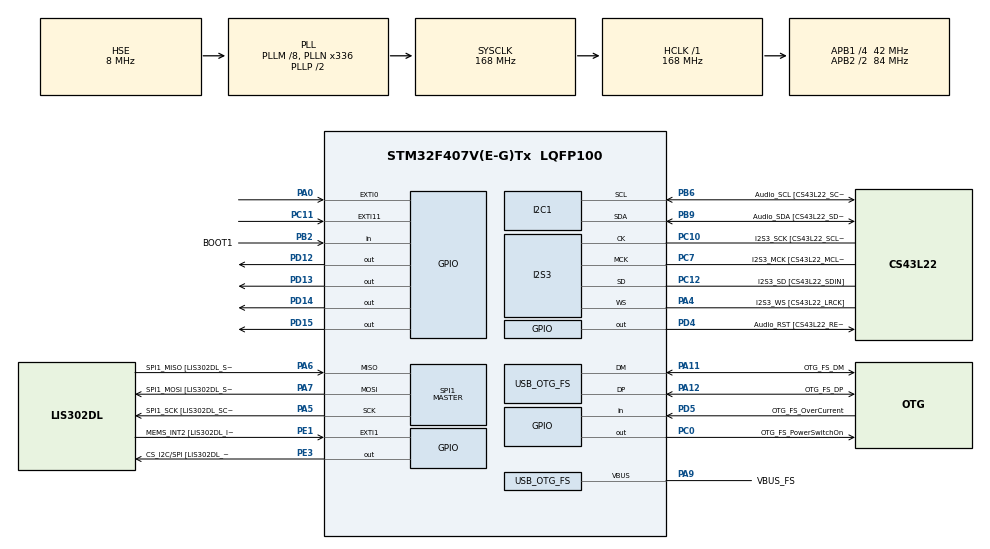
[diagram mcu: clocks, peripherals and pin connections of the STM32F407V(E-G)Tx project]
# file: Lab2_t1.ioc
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I2S3.AudioFreq-Half_Duplex_Master=I2S_AUDIOFREQ_96K
I2S3.ErrorAudioFreq=-2.34 %
I2S3.ErrorAudioFreq-Half_Duplex_Master=0.8 %
I2S3.FullDuplexMode=I2S_FULLDUPLEXMODE_DISABLE
I2S3.Instance=SPI$Index
I2S3.RealAudioFreq=93.75 KHz
I2S3.RealAudioFreq-Half_Duplex_Master=96.774 KHz
I2S3.VirtualMode=I2S_MODE_MASTER
Mcu.Family=STM32F4
Mcu.Name=STM32F407V(E-G)Tx
Mcu.Package=LQFP100
NVIC.EXTI0_IRQn=true\:0\:0\:false\:false\:true\:true\:true\:true
NVIC.OTG_FS_IRQn=true\:0\:0\:false\:false\:true\:true\:true\:true
NVIC.PriorityGroup=NVIC_PRIORITYGROUP_0
PA0-WKUP.GPIO_ModeDefaultEXTI=GPIO_MODE_IT_RISING
PA0-WKUP.Signal=GPXTI0
PA10.GPIO_Label=OTG_FS_ID
PA10.GPIO_Mode=GPIO_MODE_AF_PP
PA10.GPIO_PuPd=GPIO_NOPULL
PA10.GPIO_Speed=GPIO_SPEED_FREQ_LOW
PA10.Signal=USB_OTG_FS_ID
PA11.GPIO_Label=OTG_FS_DM
PA11.GPIO_Mode=GPIO_MODE_AF_PP
PA11.GPIO_PuPd=GPIO_NOPULL
PA11.GPIO_Speed=GPIO_SPEED_FREQ_LOW
PA11.Mode=Host_Only
PA11.Signal=USB_OTG_FS_DM
PA12.GPIO_Label=OTG_FS_DP
PA12.GPIO_Mode=GPIO_MODE_AF_PP
PA12.GPIO_PuPd=GPIO_NOPULL
PA12.GPIO_Speed=GPIO_SPEED_FREQ_LOW
PA12.Mode=Host_Only
PA12.Signal=USB_OTG_FS_DP
PA13.GPIO_Label=SWDIO
PA13.Mode=Serial_Wire
PA13.Signal=SYS_JTMS-SWDIO
PA14.GPIO_Label=SWCLK
PA14.Mode=Serial_Wire
PA14.Signal=SYS_JTCK-SWCLK
PA4.GPIO_Label=I2S3_WS [CS43L22_LRCK]
PA4.GPIO_Mode=GPIO_MODE_AF_PP
PA4.GPIO_PuPd=GPIO_NOPULL
PA4.GPIO_Speed=GPIO_SPEED_FREQ_LOW
PA4.Mode=Half_Duplex_Master
PA4.Signal=I2S3_WS
PA5.GPIO_Label=SPI1_SCK [LIS302DL_SCL/SPC]
PA5.GPIO_Mode=GPIO_MODE_AF_PP
PA5.GPIO_PuPd=GPIO_NOPULL
PA5.GPIO_Speed=GPIO_SPEED_FREQ_LOW
PA5.Mode=Full_Duplex_Master
PA5.Signal=SPI1_SCK
PA6.GPIO_Label=SPI1_MISO [LIS302DL_SDO]
PA6.GPIO_Mode=GPIO_MODE_AF_PP
PA6.GPIO_PuPd=GPIO_NOPULL
PA6.GPIO_Speed=GPIO_SPEED_FREQ_LOW
PA6.Mode=Full_Duplex_Master
PA6.Signal=SPI1_MISO
PA7.GPIO_Label=SPI1_MOSI [LIS302DL_SDA/SDI/SDO]
PA7.GPIO_Mode=GPIO_MODE_AF_PP
PA7.GPIO_PuPd=GPIO_NOPULL
PA7.GPIO_Speed=GPIO_SPEED_FREQ_LOW
PA7.Mode=Full_Duplex_Master
PA7.Signal=SPI1_MOSI
PA9.GPIO_Label=VBUS_FS
PA9.GPIO_Mode=GPIO_MODE_INPUT
PA9.GPIO_PuPd=GPIO_NOPULL
PA9.Mode=Activate_VBUS
PA9.Signal=USB_OTG_FS_VBUS
PB10.GPIO_Label=CLK_IN [MP45DT02_CLK]
PB10.GPIO_Mode=GPIO_MODE_AF_PP
PB10.GPIO_PuPd=GPIO_NOPULL
PB10.GPIO_Speed=GPIO_SPEED_FREQ_LOW
PB10.Signal=I2S2_CK
PB2.GPIO_Label=BOOT1
PB2.GPIO_Mode=GPIO_MODE_INPUT
PB2.GPIO_PuPd=GPIO_NOPULL
PB2.Signal=GPIO_Input
PB3.GPIO_Label=SWO
PB3.Signal=SYS_JTDO-SWO
PB6.GPIO_Label=Audio_SCL [CS43L22_SCL]
PB6.GPIO_Mode=GPIO_MODE_AF_OD
PB6.GPIO_Pu=GPIO_PULLUP
PB6.GPIO_PuPd=GPIO_NOPULL
PB6.GPIO_Speed=GPIO_SPEED_FREQ_LOW
PB6.Mode=I2C
PB6.Signal=I2C1_SCL
PB9.GPIO_Label=Audio_SDA [CS43L22_SDA]
PB9.GPIO_Mode=GPIO_MODE_AF_OD
PB9.GPIO_Pu=GPIO_PULLUP
PB9.GPIO_PuPd=GPIO_NOPULL
PB9.GPIO_Speed=GPIO_SPEED_FREQ_LOW
PB9.Mode=I2C
PB9.Signal=I2C1_SDA
PC0.GPIO_Label=OTG_FS_PowerSwitchOn
PC0.GPIO_PuPd=GPIO_NOPULL
PC0.GPIO_Speed=GPIO_SPEED_FREQ_LOW
PC0.PinState=GPIO_PIN_SET
PC0.Signal=GPIO_Output
PC10.GPIO_Label=I2S3_SCK [CS43L22_SCLK]
PC10.GPIO_Mode=GPIO_MODE_AF_PP
PC10.GPIO_PuPd=GPIO_NOPULL
PC10.GPIO_Speed=GPIO_SPEED_FREQ_LOW
PC10.Mode=Half_Duplex_Master
PC10.Signal=I2S3_CK
PC11.GPIO_ModeDefaultEXTI=GPIO_MODE_IT_RISING_FALLING
PC11.Signal=GPXTI11
PC12.GPIO_Label=I2S3_SD [CS43L22_SDIN]
PC12.GPIO_Mode=GPIO_MODE_AF_PP
PC12.GPIO_PuPd=GPIO_NOPULL
PC12.GPIO_Speed=GPIO_SPEED_FREQ_LOW
PC12.Mode=Half_Duplex_Master
PC12.Signal=I2S3_SD
PC14-OSC32_IN.GPIO_Label=PC14-OSC32_IN
PC14-OSC32_IN.Mode=LSE-External-Oscillator
PC14-OSC32_IN.Signal=RCC_OSC32_IN
PC15-OSC32_OUT.GPIO_Label=PC15-OSC32_OUT
PC15-OSC32_OUT.Mode=LSE-External-Oscillator
PC15-OSC32_OUT.Signal=RCC_OSC32_OUT
PC3.GPIO_Label=PDM_OUT [MP45DT02_DOUT]
PC3.GPIO_Mode=GPIO_MODE_AF_PP
PC3.GPIO_PuPd=GPIO_NOPULL
PC3.GPIO_Speed=GPIO_SPEED_FREQ_LOW
PC3.Signal=I2S2_SD
PC7.GPIO_Label=I2S3_MCK [CS43L22_MCLK]
PC7.GPIO_Mode=GPIO_MODE_AF_PP
PC7.GPIO_PuPd=GPIO_NOPULL
PC7.GPIO_Speed=GPIO_SPEED_FREQ_LOW
PC7.Mode=Master_Clock_Activated
PC7.Signal=I2S3_MCK
PD12.Signal=GPIO_Output
PD13.Signal=GPIO_Output
PD14.Signal=GPIO_Output
PD15.Signal=GPIO_Output
PD4.GPIO_Label=Audio_RST [CS43L22_RESET]
PD4.GPIO_PuPd=GPIO_NOPULL
PD4.GPIO_Speed=GPIO_SPEED_FREQ_LOW
PD4.Signal=GPIO_Output
PD5.GPIO_Label=OTG_FS_OverCurrent
PD5.GPIO_Mode=GPIO_MODE_INPUT
PD5.GPIO_PuPd=GPIO_NOPULL
PD5.Signal=GPIO_Input
PE1.GPIO_Label=MEMS_INT2 [LIS302DL_INT2]
PE1.GPIO_ModeDefaultEXTI=GPIO_MODE_EVT_RISING
PE1.GPIO_PuPd=GPIO_NOPULL
PE1.Signal=GPXTI1
PE3.GPIO_Label=CS_I2C/SPI [LIS302DL_CS_I2C/SPI]
PE3.GPIO_PuPd=GPIO_NOPULL
PE3.GPIO_Speed=GPIO_SPEED_FREQ_LOW
PE3.Signal=GPIO_Output
PH0-OSC_IN.GPIO_Label=PH0-OSC_IN
PH0-OSC_IN.Mode=HSE-External-Oscillator
PH0-OSC_IN.Signal=RCC_OSC_IN
PH1-OSC_OUT.GPIO_Label=PH1-OSC_OUT
PH1-OSC_OUT.Mode=HSE-External-Oscillator
PH1-OSC_OUT.Signal=RCC_OSC_OUT
ProjectManager.HeapSize=0x200
ProjectManager.StackSize=0x400
ProjectManager.TargetToolchain=STM32CubeIDE
RCC.48MHZClocksFreq_Value=48000000
RCC.AHBFreq_Value=168000000
RCC.APB1CLKDivider=RCC_HCLK_DIV4
RCC.APB1Freq_Value=42000000
RCC.APB1TimFreq_Value=84000000
RCC.APB2CLKDivider=RCC_HCLK_DIV2
RCC.APB2Freq_Value=84000000
RCC.APB2TimFreq_Value=168000000
RCC.CortexFreq_Value=168000000
RCC.HCLKFreq_Value=168000000
RCC.HSE_VALUE=8000000
RCC.HSI_VALUE=16000000
RCC.PLLM=8
RCC.PLLN=336
RCC.PLLQ=7
RCC.SYSCLKFreq_VALUE=168000000
RCC.SYSCLKSource=RCC_SYSCLKSOURCE_PLLCLK
RCC.VCOOutputFreq_Value=336000000
SPI1.BaudRatePrescaler-Full_Duplex_Master=SPI_BAUDRATEPRESCALER_2
SPI1.CalculateBaudRate-Full_Duplex_Master=42.0 MBits/s
SPI1.Direction=SPI_DIRECTION_2LINES
SPI1.Mode=SPI_MODE_MASTER
SPI1.Mode-Full_Duplex_Master=SPI_MODE_MASTER
SPI1.VirtualType=VM_MASTER
TIM4.Period=1000-1
TIM4.Prescaler=84
USB_HOST.BSP.number=1
USB_HOST.USBH_HandleTypeDef-CDC_FS=hUsbHostFS
USB_HOST.VirtualModeFS=Cdc
USB_HOST0.BSP.STBoard=false
USB_HOST0.BSP.api=Unknown
USB_HOST0.BSP.instance=PC0
USB_HOST0.BSP.ip=GPIO
USB_HOST0.BSP.mode=Output
USB_HOST0.BSP.name=Drive_VBUS_FS
USB_HOST0.BSP.solution=PC0
USB_OTG_FS.VirtualMode=Host_Only
USB_OTG_FS.phy_itface=HCD_PHY_EMBEDDED
VP_TIM4_VS_ClockSourceINT.Mode=Internal
VP_USB_HOST_VS_USB_HOST_CDC_FS.Mode=CDC_FS
board=STM32F407G-DISC1

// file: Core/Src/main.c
/* USER CODE BEGIN Header */
/**
  ******************************************************************************
  * @file           : main.c
  * @brief          : Main program body
  ******************************************************************************
  * @attention
  *
  * Copyright (c) 2025 STMicroelectronics.
  * All rights reserved.
  *
  * This software is licensed under terms that can be found in the LICENSE file
  * in the root directory of this software component.
  * If no LICENSE file comes with this software, it is provided AS-IS.
  *
  ******************************************************************************
  */
/* USER CODE END Header */
#include "main.h"
#include "usb_host.h"

I2C_HandleTypeDef hi2c1;

I2S_HandleTypeDef hi2s3;

SPI_HandleTypeDef hspi1;

TIM_HandleTypeDef htim4;

/* USER CODE BEGIN PV */
uint32_t currentClick = 0;
uint32_t prevClick = 0;
uint32_t numDiodesOn = 0;
/* USER CODE END PV */

void SystemClock_Config(void);
static void MX_GPIO_Init(void);
static void MX_I2C1_Init(void);
static void MX_I2S3_Init(void);
static void MX_SPI1_Init(void);
static void MX_TIM4_Init(void);
void MX_USB_HOST_Process(void);

/* USER CODE BEGIN 0 */
void ctrlLED(void)
{
	switch (numDiodesOn)
			{
			case 1:
				HAL_GPIO_WritePin(GPIOD, GPIO_PIN_12, GPIO_PIN_SET);
				break;
			case 2:
				HAL_GPIO_WritePin(GPIOD, GPIO_PIN_13, GPIO_PIN_SET);
				break;
			case 3:
				HAL_GPIO_WritePin(GPIOD, GPIO_PIN_14, GPIO_PIN_SET);
				break;
			case 4:
				HAL_GPIO_WritePin(GPIOD, GPIO_PIN_15, GPIO_PIN_SET);
				break;
			default:
				HAL_GPIO_WritePin(GPIOD, GPIO_PIN_12, GPIO_PIN_RESET);
				HAL_GPIO_WritePin(GPIOD, GPIO_PIN_13, GPIO_PIN_RESET);
				HAL_GPIO_WritePin(GPIOD, GPIO_PIN_14, GPIO_PIN_RESET);
				HAL_GPIO_WritePin(GPIOD, GPIO_PIN_15, GPIO_PIN_RESET);
			}
}
/* USER CODE END 0 */

int main(void)
{

  /* MCU Configuration--------------------------------------------------------*/

  /* Reset of all peripherals, Initializes the Flash interface and the Systick. */
  HAL_Init();

  /* Configure the system clock */
  SystemClock_Config();

  /* Initialize all configured peripherals */
  MX_GPIO_Init();
  MX_I2C1_Init();
  MX_I2S3_Init();
  MX_SPI1_Init();
  MX_USB_HOST_Init();
  MX_TIM4_Init();
  /* USER CODE BEGIN 2 */
  HAL_GPIO_WritePin(GPIOD, GPIO_PIN_12, GPIO_PIN_RESET);
  HAL_GPIO_WritePin(GPIOD, GPIO_PIN_13, GPIO_PIN_RESET);
  HAL_GPIO_WritePin(GPIOD, GPIO_PIN_14, GPIO_PIN_RESET);
  HAL_GPIO_WritePin(GPIOD, GPIO_PIN_15, GPIO_PIN_RESET);
  /* USER CODE END 2 */

  /* Infinite loop */
  while (1)
  {
    MX_USB_HOST_Process();

  }
}

void SystemClock_Config(void)
{
  RCC_OscInitTypeDef RCC_OscInitStruct = {0};
  RCC_ClkInitTypeDef RCC_ClkInitStruct = {0};

  /** Configure the main internal regulator output voltage
  */
  __HAL_RCC_PWR_CLK_ENABLE();
  __HAL_PWR_VOLTAGESCALING_CONFIG(PWR_REGULATOR_VOLTAGE_SCALE1);

  /** Initializes the RCC Oscillators according to the specified parameters
  * in the RCC_OscInitTypeDef structure.
  */
  RCC_OscInitStruct.OscillatorType = RCC_OSCILLATORTYPE_HSE;
  RCC_OscInitStruct.HSEState = RCC_HSE_ON;
  RCC_OscInitStruct.PLL.PLLState = RCC_PLL_ON;
  RCC_OscInitStruct.PLL.PLLSource = RCC_PLLSOURCE_HSE;
  RCC_OscInitStruct.PLL.PLLM = 8;
  RCC_OscInitStruct.PLL.PLLN = 336;
  RCC_OscInitStruct.PLL.PLLP = RCC_PLLP_DIV2;
  RCC_OscInitStruct.PLL.PLLQ = 7;
  if (HAL_RCC_OscConfig(&RCC_OscInitStruct) != HAL_OK)
  {
    Error_Handler();
  }

  /** Initializes the CPU, AHB and APB buses clocks
  */
  RCC_ClkInitStruct.ClockType = RCC_CLOCKTYPE_HCLK|RCC_CLOCKTYPE_SYSCLK
                              |RCC_CLOCKTYPE_PCLK1|RCC_CLOCKTYPE_PCLK2;
  RCC_ClkInitStruct.SYSCLKSource = RCC_SYSCLKSOURCE_PLLCLK;
  RCC_ClkInitStruct.AHBCLKDivider = RCC_SYSCLK_DIV1;
  RCC_ClkInitStruct.APB1CLKDivider = RCC_HCLK_DIV4;
  RCC_ClkInitStruct.APB2CLKDivider = RCC_HCLK_DIV2;

  if (HAL_RCC_ClockConfig(&RCC_ClkInitStruct, FLASH_LATENCY_5) != HAL_OK)
  {
    Error_Handler();
  }
}

static void MX_I2C1_Init(void)
{

  hi2c1.Instance = I2C1;
  hi2c1.Init.ClockSpeed = 100000;
  hi2c1.Init.DutyCycle = I2C_DUTYCYCLE_2;
  hi2c1.Init.OwnAddress1 = 0;
  hi2c1.Init.AddressingMode = I2C_ADDRESSINGMODE_7BIT;
  hi2c1.Init.DualAddressMode = I2C_DUALADDRESS_DISABLE;
  hi2c1.Init.OwnAddress2 = 0;
  hi2c1.Init.GeneralCallMode = I2C_GENERALCALL_DISABLE;
  hi2c1.Init.NoStretchMode = I2C_NOSTRETCH_DISABLE;
  if (HAL_I2C_Init(&hi2c1) != HAL_OK)
  {
    Error_Handler();
  }

}

static void MX_I2S3_Init(void)
{

  hi2s3.Instance = SPI3;
  hi2s3.Init.Mode = I2S_MODE_MASTER_TX;
  hi2s3.Init.Standard = I2S_STANDARD_PHILIPS;
  hi2s3.Init.DataFormat = I2S_DATAFORMAT_16B;
  hi2s3.Init.MCLKOutput = I2S_MCLKOUTPUT_ENABLE;
  hi2s3.Init.AudioFreq = I2S_AUDIOFREQ_96K;
  hi2s3.Init.CPOL = I2S_CPOL_LOW;
  hi2s3.Init.ClockSource = I2S_CLOCK_PLL;
  hi2s3.Init.FullDuplexMode = I2S_FULLDUPLEXMODE_DISABLE;
  if (HAL_I2S_Init(&hi2s3) != HAL_OK)
  {
    Error_Handler();
  }

}

static void MX_SPI1_Init(void)
{

  /* SPI1 parameter configuration*/
  hspi1.Instance = SPI1;
  hspi1.Init.Mode = SPI_MODE_MASTER;
  hspi1.Init.Direction = SPI_DIRECTION_2LINES;
  hspi1.Init.DataSize = SPI_DATASIZE_8BIT;
  hspi1.Init.CLKPolarity = SPI_POLARITY_LOW;
  hspi1.Init.CLKPhase = SPI_PHASE_1EDGE;
  hspi1.Init.NSS = SPI_NSS_SOFT;
  hspi1.Init.BaudRatePrescaler = SPI_BAUDRATEPRESCALER_2;
  hspi1.Init.FirstBit = SPI_FIRSTBIT_MSB;
  hspi1.Init.TIMode = SPI_TIMODE_DISABLE;
  hspi1.Init.CRCCalculation = SPI_CRCCALCULATION_DISABLE;
  hspi1.Init.CRCPolynomial = 10;
  if (HAL_SPI_Init(&hspi1) != HAL_OK)
  {
    Error_Handler();
  }

}

static void MX_TIM4_Init(void)
{

  TIM_ClockConfigTypeDef sClockSourceConfig = {0};
  TIM_MasterConfigTypeDef sMasterConfig = {0};

  htim4.Instance = TIM4;
  htim4.Init.Prescaler = 84;
  htim4.Init.CounterMode = TIM_COUNTERMODE_UP;
  htim4.Init.Period = 1000-1;
  htim4.Init.ClockDivision = TIM_CLOCKDIVISION_DIV1;
  htim4.Init.AutoReloadPreload = TIM_AUTORELOAD_PRELOAD_DISABLE;
  if (HAL_TIM_Base_Init(&htim4) != HAL_OK)
  {
    Error_Handler();
  }
  sClockSourceConfig.ClockSource = TIM_CLOCKSOURCE_INTERNAL;
  if (HAL_TIM_ConfigClockSource(&htim4, &sClockSourceConfig) != HAL_OK)
  {
    Error_Handler();
  }
  sMasterConfig.MasterOutputTrigger = TIM_TRGO_RESET;
  sMasterConfig.MasterSlaveMode = TIM_MASTERSLAVEMODE_DISABLE;
  if (HAL_TIMEx_MasterConfigSynchronization(&htim4, &sMasterConfig) != HAL_OK)
  {
    Error_Handler();
  }

}

static void MX_GPIO_Init(void)
{
  GPIO_InitTypeDef GPIO_InitStruct = {0};

  /* GPIO Ports Clock Enable */
  __HAL_RCC_GPIOE_CLK_ENABLE();
  __HAL_RCC_GPIOC_CLK_ENABLE();
  __HAL_RCC_GPIOH_CLK_ENABLE();
  __HAL_RCC_GPIOA_CLK_ENABLE();
  __HAL_RCC_GPIOB_CLK_ENABLE();
  __HAL_RCC_GPIOD_CLK_ENABLE();

  /*Configure GPIO pin Output Level */
  HAL_GPIO_WritePin(CS_I2C_SPI_GPIO_Port, CS_I2C_SPI_Pin, GPIO_PIN_RESET);

  /*Configure GPIO pin Output Level */
  HAL_GPIO_WritePin(OTG_FS_PowerSwitchOn_GPIO_Port, OTG_FS_PowerSwitchOn_Pin, GPIO_PIN_SET);

  /*Configure GPIO pin Output Level */
  HAL_GPIO_WritePin(GPIOD, GPIO_PIN_12|GPIO_PIN_13|GPIO_PIN_14|GPIO_PIN_15
                          |Audio_RST_Pin, GPIO_PIN_RESET);

  /*Configure GPIO pin : CS_I2C_SPI_Pin */
  GPIO_InitStruct.Pin = CS_I2C_SPI_Pin;
  GPIO_InitStruct.Mode = GPIO_MODE_OUTPUT_PP;
  GPIO_InitStruct.Pull = GPIO_NOPULL;
  GPIO_InitStruct.Speed = GPIO_SPEED_FREQ_LOW;
  HAL_GPIO_Init(CS_I2C_SPI_GPIO_Port, &GPIO_InitStruct);

  /*Configure GPIO pin : OTG_FS_PowerSwitchOn_Pin */
  GPIO_InitStruct.Pin = OTG_FS_PowerSwitchOn_Pin;
  GPIO_InitStruct.Mode = GPIO_MODE_OUTPUT_PP;
  GPIO_InitStruct.Pull = GPIO_NOPULL;
  GPIO_InitStruct.Speed = GPIO_SPEED_FREQ_LOW;
  HAL_GPIO_Init(OTG_FS_PowerSwitchOn_GPIO_Port, &GPIO_InitStruct);

  /*Configure GPIO pin : PDM_OUT_Pin */
  GPIO_InitStruct.Pin = PDM_OUT_Pin;
  GPIO_InitStruct.Mode = GPIO_MODE_AF_PP;
  GPIO_InitStruct.Pull = GPIO_NOPULL;
  GPIO_InitStruct.Speed = GPIO_SPEED_FREQ_LOW;
  GPIO_InitStruct.Alternate = GPIO_AF5_SPI2;
  HAL_GPIO_Init(PDM_OUT_GPIO_Port, &GPIO_InitStruct);

  /*Configure GPIO pin : PA0 */
  GPIO_InitStruct.Pin = GPIO_PIN_0;
  GPIO_InitStruct.Mode = GPIO_MODE_IT_RISING;
  GPIO_InitStruct.Pull = GPIO_NOPULL;
  HAL_GPIO_Init(GPIOA, &GPIO_InitStruct);

  /*Configure GPIO pin : BOOT1_Pin */
  GPIO_InitStruct.Pin = BOOT1_Pin;
  GPIO_InitStruct.Mode = GPIO_MODE_INPUT;
  GPIO_InitStruct.Pull = GPIO_NOPULL;
  HAL_GPIO_Init(BOOT1_GPIO_Port, &GPIO_InitStruct);

  /*Configure GPIO pin : CLK_IN_Pin */
  GPIO_InitStruct.Pin = CLK_IN_Pin;
  GPIO_InitStruct.Mode = GPIO_MODE_AF_PP;
  GPIO_InitStruct.Pull = GPIO_NOPULL;
  GPIO_InitStruct.Speed = GPIO_SPEED_FREQ_LOW;
  GPIO_InitStruct.Alternate = GPIO_AF5_SPI2;
  HAL_GPIO_Init(CLK_IN_GPIO_Port, &GPIO_InitStruct);

  /*Configure GPIO pins : PD12 PD13 PD14 PD15
                           Audio_RST_Pin */
  GPIO_InitStruct.Pin = GPIO_PIN_12|GPIO_PIN_13|GPIO_PIN_14|GPIO_PIN_15
                          |Audio_RST_Pin;
  GPIO_InitStruct.Mode = GPIO_MODE_OUTPUT_PP;
  GPIO_InitStruct.Pull = GPIO_NOPULL;
  GPIO_InitStruct.Speed = GPIO_SPEED_FREQ_LOW;
  HAL_GPIO_Init(GPIOD, &GPIO_InitStruct);

  /*Configure GPIO pin : PC11 */
  GPIO_InitStruct.Pin = GPIO_PIN_11;
  GPIO_InitStruct.Mode = GPIO_MODE_IT_RISING_FALLING;
  GPIO_InitStruct.Pull = GPIO_NOPULL;
  HAL_GPIO_Init(GPIOC, &GPIO_InitStruct);

  /*Configure GPIO pin : OTG_FS_OverCurrent_Pin */
  GPIO_InitStruct.Pin = OTG_FS_OverCurrent_Pin;
  GPIO_InitStruct.Mode = GPIO_MODE_INPUT;
  GPIO_InitStruct.Pull = GPIO_NOPULL;
  HAL_GPIO_Init(OTG_FS_OverCurrent_GPIO_Port, &GPIO_InitStruct);

  /*Configure GPIO pin : MEMS_INT2_Pin */
  GPIO_InitStruct.Pin = MEMS_INT2_Pin;
  GPIO_InitStruct.Mode = GPIO_MODE_EVT_RISING;
  GPIO_InitStruct.Pull = GPIO_NOPULL;
  HAL_GPIO_Init(MEMS_INT2_GPIO_Port, &GPIO_InitStruct);

  /* EXTI interrupt init*/
  HAL_NVIC_SetPriority(EXTI0_IRQn, 0, 0);
  HAL_NVIC_EnableIRQ(EXTI0_IRQn);

}

/* USER CODE BEGIN 4 */

void HAL_GPIO_EXTI_Callback(uint16_t GPIO_Pin)
{
	currentClick = HAL_GetTick();
	if (GPIO_Pin == GPIO_PIN_0 && (currentClick - prevClick > 100))  // Blue button
	{
		if (++numDiodesOn > 4)
			numDiodesOn = 0;
		prevClick = currentClick;
		ctrlLED();
	}
}

/* USER CODE END 4 */

void Error_Handler(void)
{
  __disable_irq();
  while (1)
  {
  }
}
